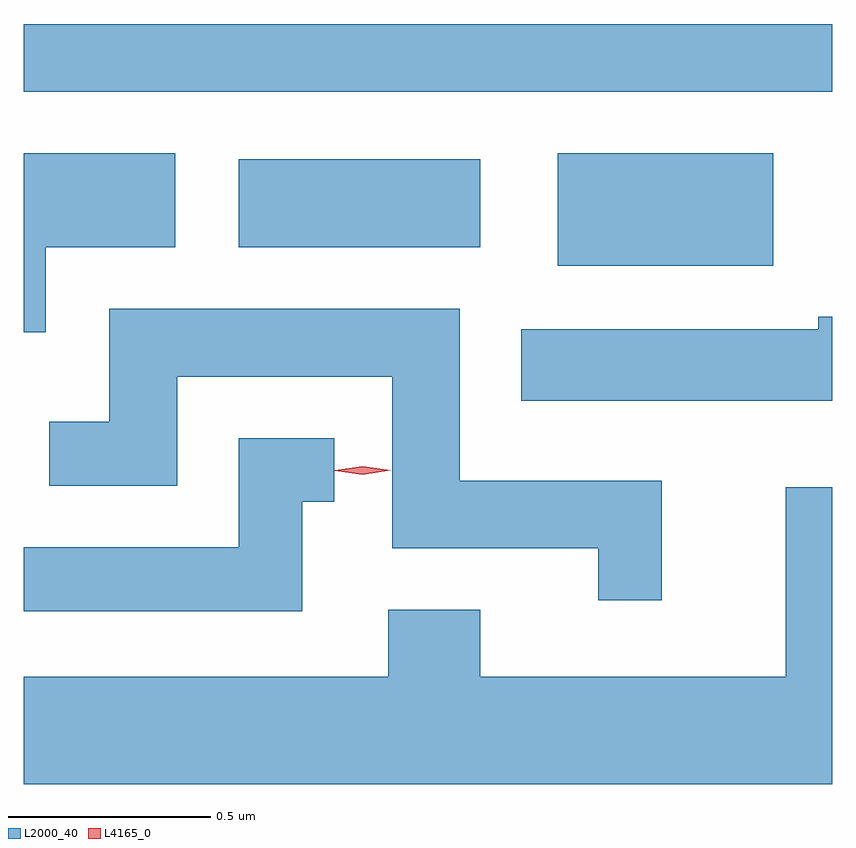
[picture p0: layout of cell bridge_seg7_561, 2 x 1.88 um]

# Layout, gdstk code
import gdstk
lib = gdstk.Library(unit=1e-6, precision=1e-09)
def R(c, l, rs):  # rectangles x0, y0, x1, y1
    for r in rs: c.add(gdstk.rectangle(r[:2], r[2:], *l))
def P(c, l, *ps):  # polygons
    for p in ps: c.add(gdstk.Polygon(p, *l))
L2000_40 = (2000, 40)
L4165_0 = (4165, 0)

bridge_seg7_561 = lib.new_cell('bridge_seg7_561')
R(bridge_seg7_561, L2000_40, [(924.281,1764.441,924.814,1764.719), (923.491,1764.486,924.089,1764.704), (922.96,1764.871,924.96,1765.039)])
P(bridge_seg7_561, L2000_40, [(923.014,1764.486),(923.334,1764.486),(923.334,1764.719),(922.96,1764.719),(922.96,1764.276),(923.014,1764.276)],
  [(924.539,1763.909),(924.039,1763.909),(924.039,1764.334),(923.171,1764.334),(923.171,1764.054),(923.023,1764.054),(923.023,1763.896),(923.339,1763.896),(923.339,1764.166),(923.871,1764.166),(923.871,1763.741),(924.381,1763.741),(924.381,1763.613),(924.539,1763.613)],
  [(924.96,1764.314),(924.926,1764.314),(924.926,1764.284),(924.191,1764.284),(924.191,1764.106),(924.96,1764.106)],
  [(923.649,1763.856),(923.728,1763.856),(923.728,1764.014),(923.491,1764.014),(923.491,1763.744),(922.96,1763.744),(922.96,1763.586),(923.649,1763.586)],
  [(924.96,1763.893),(924.846,1763.893),(924.846,1763.424),(924.089,1763.424),(924.089,1763.589),(923.861,1763.589),(923.861,1763.424),(922.96,1763.424),(922.96,1763.158),(924.96,1763.158)])
P(bridge_seg7_561, L4165_0, [(923.798,1763.924),(923.729,1763.933),(923.729,1763.934),(923.729,1763.934),(923.798,1763.944),(923.868,1763.935),(923.868,1763.934),(923.868,1763.934)])

lib.write_gds('bridge_seg7_561.gds')
